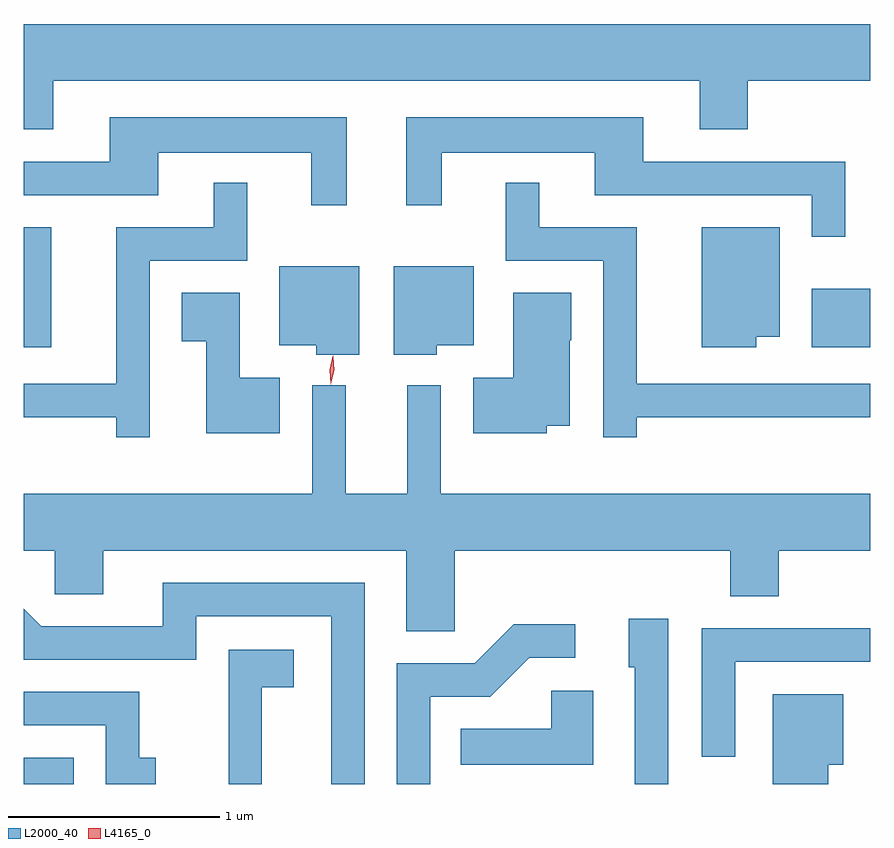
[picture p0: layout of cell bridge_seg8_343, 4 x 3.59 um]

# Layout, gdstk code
import gdstk
lib = gdstk.Library(unit=1e-6, precision=1e-09)
def R(c, l, rs):  # rectangles x0, y0, x1, y1
    for r in rs: c.add(gdstk.rectangle(r[:2], r[2:], *l))
def P(c, l, *ps):  # polygons
    for p in ps: c.add(gdstk.Polygon(p, *l))
L2000_40 = (2000, 40)
L4165_0 = (4165, 0)

bridge_seg8_343 = lib.new_cell('bridge_seg8_343')
R(bridge_seg8_343, L2000_40, [(723.033,1884.154,723.269,1884.279), (723.033,1886.216,723.164,1886.784), (726.756,1886.216,727.033,1886.494)])
P(bridge_seg8_343, L2000_40, [(723.174,1887.476),(726.226,1887.476),(726.226,1887.246),(726.454,1887.246),(726.454,1887.476),(727.033,1887.476),(727.033,1887.744),(723.033,1887.744),(723.033,1887.246),(723.174,1887.246)],
  [(724.559,1887.304),(723.441,1887.304),(723.441,1887.094),(723.033,1887.094),(723.033,1886.936),(723.669,1886.936),(723.669,1887.136),(724.391,1887.136),(724.391,1886.888),(724.559,1886.888)],
  [(726.914,1887.094),(725.959,1887.094),(725.959,1887.304),(724.841,1887.304),(724.841,1886.888),(725.009,1886.888),(725.009,1887.136),(725.731,1887.136),(725.731,1886.936),(726.756,1886.936),(726.756,1886.738),(726.914,1886.738)],
  [(723.629,1886.626),(724.089,1886.626),(724.089,1886.993),(723.931,1886.993),(723.931,1886.784),(723.471,1886.784),(723.471,1886.044),(723.033,1886.044),(723.033,1885.886),(723.471,1885.886),(723.471,1885.793),(723.629,1885.793)],
  [(725.929,1885.886),(727.033,1885.886),(727.033,1886.044),(725.929,1886.044),(725.929,1886.784),(725.469,1886.784),(725.469,1886.993),(725.311,1886.993),(725.311,1886.626),(725.771,1886.626),(725.771,1885.793),(725.929,1885.793)],
  [(726.494,1886.266),(726.604,1886.266),(726.604,1886.784),(726.236,1886.784),(726.236,1886.216),(726.494,1886.216)],
  [(724.984,1886.226),(725.159,1886.226),(725.159,1886.599),(724.781,1886.599),(724.781,1886.181),(724.984,1886.181)],
  [(724.619,1886.599),(724.241,1886.599),(724.241,1886.226),(724.416,1886.226),(724.416,1886.181),(724.619,1886.181)],
  [(725.504,1885.846),(725.614,1885.846),(725.614,1886.25),(725.619,1886.25),(725.619,1886.474),(725.346,1886.474),(725.346,1886.074),(725.156,1886.074),(725.156,1885.811),(725.504,1885.811)],
  [(724.244,1886.074),(724.054,1886.074),(724.054,1886.474),(723.781,1886.474),(723.781,1886.246),(723.896,1886.246),(723.896,1885.811),(724.244,1885.811)],
  [(725.069,1885.256),(726.371,1885.256),(726.371,1885.041),(726.599,1885.041),(726.599,1885.256),(727.033,1885.256),(727.033,1885.524),(725.004,1885.524),(725.004,1886.038),(724.846,1886.038),(724.846,1885.524),(724.554,1885.524),(724.554,1886.038),(724.396,1886.038),(724.396,1885.524),(723.033,1885.524),(723.033,1885.256),(723.181,1885.256),(723.181,1885.051),(723.409,1885.051),(723.409,1885.256),(724.841,1885.256),(724.841,1884.876),(725.069,1884.876)],
  [(724.644,1885.104),(723.691,1885.104),(723.691,1884.899),(723.117,1884.899),(723.033,1884.983),(723.033,1884.742),(723.034,1884.741),(723.849,1884.741),(723.849,1884.946),(724.486,1884.946),(724.486,1884.154),(724.644,1884.154)],
  [(726.079,1884.934),(725.891,1884.934),(725.891,1884.706),(725.921,1884.706),(725.921,1884.154),(726.079,1884.154)],
  [(724.954,1884.566),(725.237,1884.566),(725.422,1884.751),(725.638,1884.751),(725.638,1884.909),(725.349,1884.909),(725.164,1884.724),(724.796,1884.724),(724.796,1884.154),(724.954,1884.154)],
  [(726.394,1884.731),(727.033,1884.731),(727.033,1884.889),(726.236,1884.889),(726.236,1884.283),(726.394,1884.283)],
  [(724.159,1884.611),(724.309,1884.611),(724.309,1884.789),(724.001,1884.789),(724.001,1884.154),(724.159,1884.154)],
  [(725.724,1884.594),(725.526,1884.594),(725.526,1884.414),(725.098,1884.414),(725.098,1884.246),(725.724,1884.246)],
  [(723.658,1884.279),(723.579,1884.279),(723.579,1884.589),(723.033,1884.589),(723.033,1884.431),(723.421,1884.431),(723.421,1884.154),(723.658,1884.154)],
  [(726.834,1884.246),(726.904,1884.246),(726.904,1884.579),(726.571,1884.579),(726.571,1884.154),(726.834,1884.154)])
P(bridge_seg8_343, L4165_0, [(724.484,1886.043),(724.484,1886.043),(724.48,1886.11),(724.494,1886.175),(724.495,1886.175),(724.495,1886.175),(724.5,1886.108),(724.485,1886.043)])

lib.write_gds('bridge_seg8_343.gds')
